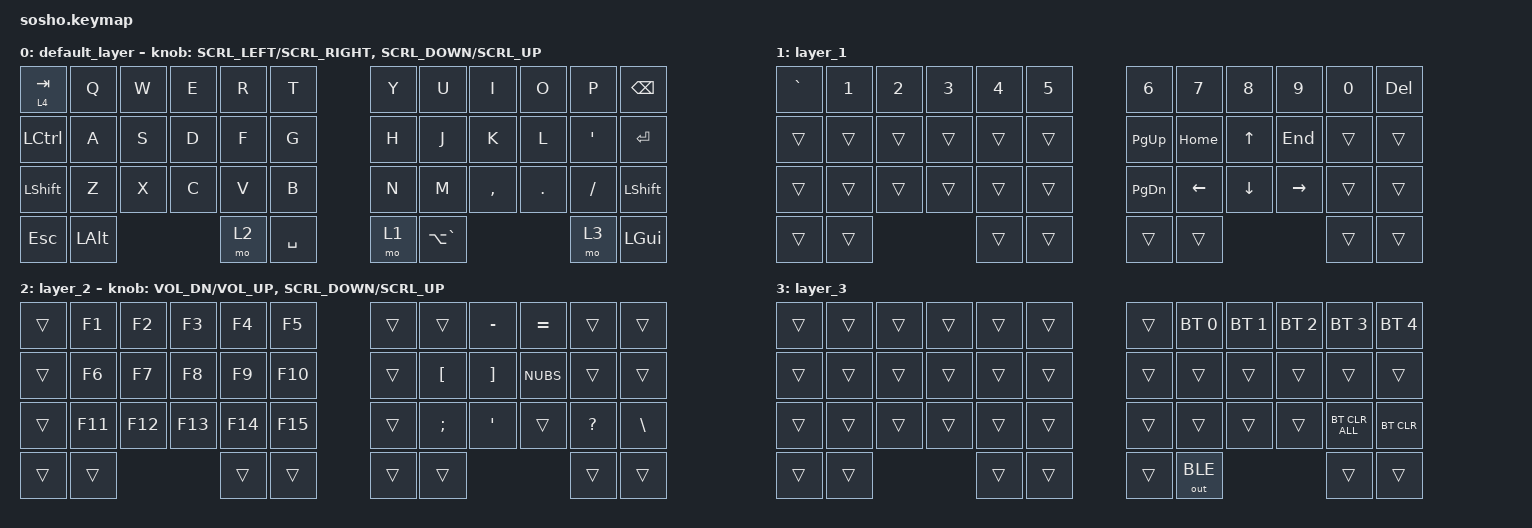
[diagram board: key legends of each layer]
#include <behaviors.dtsi>
#include <dt-bindings/zmk/bt.h>
#include <dt-bindings/zmk/keys.h>
#include <dt-bindings/zmk/pointing.h>
#include <dt-bindings/zmk/outputs.h>

/ {
	behaviors {
        ec_ms_l: ec_ms_h {
            compatible = "zmk,behavior-encoder-mouse-scroll";
            #sensor-binding-cells = <2>;
        };
        ec_ms_r: ec_ms_v {
            compatible = "zmk,behavior-encoder-mouse-scroll";
            #sensor-binding-cells = <2>;
        };
    };
};

//&msc（キーに割り当てたマウスのスクロール）の加速の設定。&msc を割り当てたキーに効く。
//いまのファイルの割り当てでは &msc を使っていない（エンコーダのスクロールは zmk_encoder で、これとは別）。
&msc {
    time-to-max-speed-ms = <0>;   // 即座に最大速度（加速なし）
    acceleration-exponent = <0>;   // 加速なし
};

/{
    combos {
        compatible = "zmk,combos";
		//左クリックのコンボ 19はJのキー 20はKのキーに相当します。
	    combo_LCLK {
            timeout-ms = <50>;
            key-positions = <19 20>;
            bindings = <&mkp LCLK>;
        };

		//右クリックのコンボ 20 K 21 L
        combo_RCLK {
            timeout-ms = <50>;
            key-positions = <20 21>;
            bindings = <&mkp RCLK>;
        };

		//ホイールクリックのコンボ 19 J 21 L
	    combo_MCLK {
            timeout-ms = <90>;
            key-positions = <19 21>;
            bindings = <&mkp MCLK>;
        };

    };
};

/{
keymap {
    compatible = "zmk,keymap";

    default_layer {
		//0番キーはタップで Tab、長押しで scroll レイヤー（L4）。
		//L4 のあいだは左のトラックボールが縦スクロールになる（sosho_R_trackpad.overlay で設定）。
        bindings = <
            &lt 4 TAB  &kp Q   &kp W  &kp E  &kp R  &kp T      &kp Y  &kp U  &kp I      &kp O    &kp P     &kp BSPC
            &kp LCTRL  &kp A   &kp S  &kp D  &kp F  &kp G      &kp H  &kp J  &kp K      &kp L    &kp SQT   &kp ENTER
            &kp LSHFT  &kp Z   &kp X  &kp C  &kp V  &kp B      &kp N  &kp M  &kp COMMA  &kp DOT  &kp SLASH &kp LSHFT
            &kp ESC    &kp LALT              &mo 2  &kp SPACE  &mo 1  &kp LA(GRAVE)              &mo 3     &kp LGUI
        >;
		//&ec_ms_lとrは、上のビヘイビアで作ったもの。
        sensor-bindings = <&ec_ms_l SCRL_LEFT SCRL_RIGHT &ec_ms_r SCRL_DOWN SCRL_UP>;
    };
	
    layer_1 {
        bindings = <
            &kp GRAVE &kp N1  &kp N2  &kp N3  &kp N4  &kp N5       &kp N6    &kp N7   &kp N8   &kp N9    &kp N0 &kp DEL
            &trans    &trans &trans &trans &trans &trans           &kp PG_UP &kp HOME &kp UP   &kp END   &trans &trans
            &trans    &trans &trans &trans &trans &trans           &kp PG_DN &kp LEFT &kp DOWN &kp RIGHT &trans &trans
            &trans    &trans               &trans &trans           &trans    &trans                      &trans &trans
        >;
    };

    layer_2 {
        bindings = <
            &trans &kp F1  &kp F2  &kp F3  &kp F4  &kp F5     &trans  &trans    &kp MINUS &kp EQUAL &trans     &trans
            &trans &kp F6  &kp F7  &kp F8  &kp F9  &kp F10    &trans  &kp LBKT  &kp RBKT  &kp NUBS  &trans     &trans
            &trans &kp F11 &kp F12 &kp F13 &kp F14 &kp F15    &trans  &kp SEMI  &kp SQT   &trans    &kp QMARK  &kp BSLH
            &trans &trans                  &trans  &trans     &trans  &trans                        &trans     &trans
        >;
		//レイヤー2のときだけ、左手のエンコーダを回すとボリュームの上下ができるようになっています。
		sensor-bindings = <&inc_dec_kp C_VOL_DN C_VOL_UP &ec_ms_r SCRL_DOWN SCRL_UP>;

    };

    layer_3 {
        bindings = <
            &trans &trans &trans &trans &trans &trans      &trans  &bt BT_SEL 0  &bt BT_SEL 1  &bt BT_SEL 2  &bt BT_SEL 3   &bt BT_SEL 4
            &trans &trans &trans &trans &trans &trans      &trans  &trans        &trans        &trans        &trans         &trans
            &trans &trans &trans &trans &trans &trans      &trans  &trans        &trans        &trans        &bt BT_CLR_ALL &bt BT_CLR
            &trans &trans               &trans &trans      &trans  &out OUT_BLE                                    &trans         &trans
        >;
    };
    scroll {
        status = "reserved";
    };

    extra2 {
        status = "reserved";
    };
};
};
